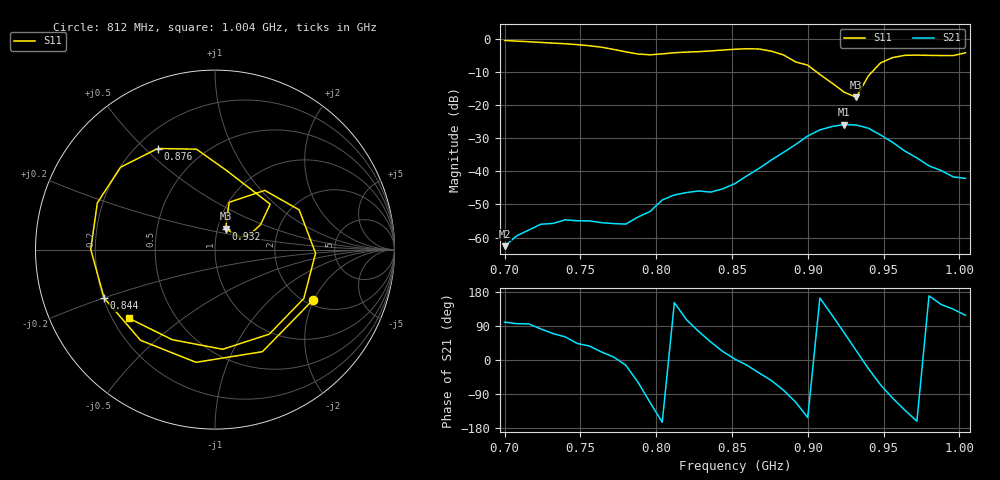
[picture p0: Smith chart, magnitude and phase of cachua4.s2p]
# Hz S RI R 50
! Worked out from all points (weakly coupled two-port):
!   39 points, 700 MHz to 1.004 GHz, reference 50 ohm
!   highest |S21| = -25.90 dB at 924 MHz (marker M1); lowest = -62.6 dB at 700 MHz (marker M2)
!   lowest |S11| = -17.7 dB at 932 MHz (marker M3), VSWR 1.30, Z = 54.7 + j13 ohm
!   |S11| at or under -10 dB: 905.7 MHz to 942.5 MHz (36.74 MHz wide, 3.98 % of centre)
!   S12 and S22 are empty: the file has one direction only
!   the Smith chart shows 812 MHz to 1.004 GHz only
!   S11 on the Smith chart (normalised r, x): 812 MHz: 2.18, -1.97; 844 MHz: 0.20, -0.20; 876 MHz: 0.28, +0.55; 932 MHz: 1.09, +0.26; 1.004 GHz: 0.27, -0.33
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7e8  0.7592 0.5536  -0.000127 0.000733  0 0  0 0
7.24e8  0.8433 -0.2425  0.00023 0.00158  0 0  0 0
7.4e8  0.4583 -0.7016  0.000901 0.00162  0 0  0 0
7.56e8  -0.1931 -0.7574  0.00143 0.00107  0 0  0 0
7.72e8  -0.6599 -0.1956  0.00162 0.00022  0 0  0 0
7.8e8  -0.5909 0.2256  0.00155 -0.000387  0 0  0 0
7.88e8  -0.2422 0.5346  0.00106 -0.00175  0 0  0 0
7.96e8  0.2398 0.518  -0.000941 -0.0023  0 0  0 0
8.04e8  0.5645 0.1695  -0.00356 -0.001  0 0  0 0
8.12e8  0.5451 -0.2813  -0.00387 0.00211  0 0  0 0
8.28e8  -0.1057 -0.6281  0.00127 0.0049  0 0  0 0
8.44e8  -0.6181 -0.2692  0.00505 0.00207  0 0  0 0
8.52e8  -0.6924 0.00202  0.00653 0.000264  0 0  0 0
8.76e8  -0.3195 0.5633  0.00869 -0.012  0 0  0 0
9e8  0.3076 0.2531  -0.0302 -0.0161  0 0  0 0
9.08e8  0.2535 0.1384  -0.0404 0.0119  0 0  0 0
9.24e8  0.1407 0.0678  0.0156 0.0482  0 0  0 0
9.32e8  0.0593 0.1164  0.0454 0.0207  0 0  0 0
9.56e8  0.469 0.2214  -0.0051 -0.0269  0 0  0 0
9.64e8  0.5603 -0.0198  -0.0136 -0.015  0 0  0 0
9.8e8  0.3025 -0.4711  -0.0119 0.00224  0 0  0 0
1.004e9  -0.4767 -0.3837  -0.00368 0.00692  0 0  0 0
